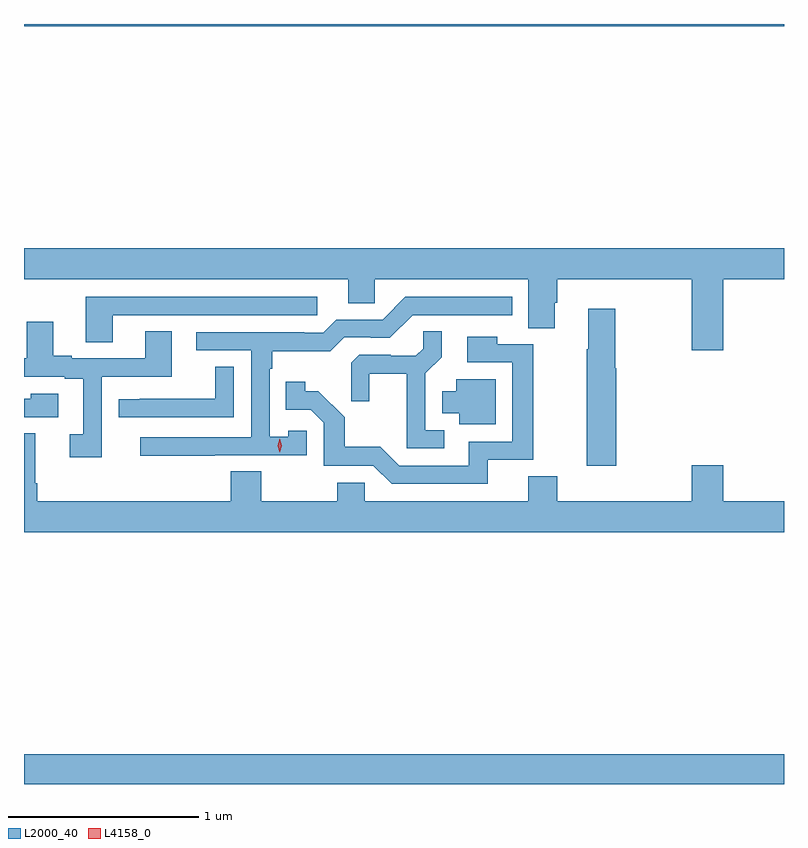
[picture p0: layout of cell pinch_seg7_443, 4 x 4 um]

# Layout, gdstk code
import gdstk
lib = gdstk.Library(unit=1e-6, precision=1e-09)
def R(c, l, rs):  # rectangles x0, y0, x1, y1
    for r in rs: c.add(gdstk.rectangle(r[:2], r[2:], *l))
def P(c, l, *ps):  # polygons
    for p in ps: c.add(gdstk.Polygon(p, *l))
L2000_40 = (2000, 40)
L4158_0 = (4158, 0)

pinch_seg7_443 = lib.new_cell('pinch_seg7_443')
R(pinch_seg7_443, L2000_40, [(293.361,1055.236,297.361,1055.392), (293.361,1059.224,297.361,1059.236)])
P(pinch_seg7_443, L2000_40, [(297.04,1057.892),(297.361,1057.892),(297.361,1058.056),(293.361,1058.056),(293.361,1057.892),(295.067,1057.892),(295.067,1057.765),(295.206,1057.765),(295.206,1057.892),(296.015,1057.892),(296.015,1057.636),(296.155,1057.636),(296.155,1057.77),(296.168,1057.77),(296.168,1057.892),(296.876,1057.892),(296.876,1057.518),(297.04,1057.518)],
  [(293.827,1057.704),(294.904,1057.704),(294.904,1057.8),(293.687,1057.8),(293.687,1057.561),(293.827,1057.561)],
  [(294.365,1056.966),(294.849,1056.966),(294.849,1057.095),(294.753,1057.095),(294.753,1057.063),(294.654,1057.063),(294.654,1057.421),(294.667,1057.421),(294.667,1057.514),(294.974,1057.514),(295.047,1057.587),(295.186,1057.587),(295.186,1057.584),(295.287,1057.584),(295.407,1057.704),(295.93,1057.704),(295.93,1057.8),(295.368,1057.8),(295.248,1057.68),(295.005,1057.68),(294.936,1057.611),(294.836,1057.611),(294.836,1057.614),(294.267,1057.614),(294.267,1057.518),(294.558,1057.518),(294.558,1057.062),(293.973,1057.062),(293.973,1056.964),(294.365,1056.964)],
  [(296.477,1057.425),(296.472,1057.425),(296.472,1057.738),(296.33,1057.738),(296.33,1057.525),(296.323,1057.525),(296.323,1056.912),(296.477,1056.912)],
  [(293.769,1057.38),(294.139,1057.38),(294.139,1057.619),(293.999,1057.619),(293.999,1057.476),(293.611,1057.476),(293.611,1057.489),(293.515,1057.489),(293.515,1057.669),(293.375,1057.669),(293.375,1057.476),(293.361,1057.476),(293.361,1057.38),(293.576,1057.38),(293.576,1057.368),(293.672,1057.368),(293.672,1057.077),(293.601,1057.077),(293.601,1056.957),(293.769,1056.957)],
  [(295.573,1057.098),(295.473,1057.098),(295.473,1057.397),(295.559,1057.483),(295.559,1057.619),(295.461,1057.619),(295.461,1057.528),(295.424,1057.491),(295.29,1057.491),(295.29,1057.494),(295.125,1057.494),(295.084,1057.453),(295.084,1057.251),(295.178,1057.251),(295.178,1057.394),(295.376,1057.394),(295.376,1057.002),(295.573,1057.002)],
  [(295.802,1056.942),(296.041,1056.942),(296.041,1057.551),(295.851,1057.551),(295.851,1057.591),(295.695,1057.591),(295.695,1057.455),(295.932,1057.455),(295.932,1057.038),(295.703,1057.038),(295.703,1056.912),(295.335,1056.912),(295.237,1057.011),(295.048,1057.011),(295.048,1057.166),(294.91,1057.304),(294.84,1057.304),(294.84,1057.354),(294.739,1057.354),(294.739,1057.206),(294.87,1057.206),(294.939,1057.137),(294.939,1056.912),(295.2,1056.912),(295.296,1056.816),(295.802,1056.816)],
  [(294.465,1057.433),(294.367,1057.433),(294.367,1057.263),(293.971,1057.263),(293.971,1057.262),(293.859,1057.262),(293.859,1057.167),(294.465,1057.167)],
  [(295.843,1057.366),(295.637,1057.366),(295.637,1057.303),(295.562,1057.303),(295.562,1057.187),(295.652,1057.187),(295.652,1057.13),(295.843,1057.13)],
  [(293.542,1057.291),(293.397,1057.291),(293.397,1057.263),(293.361,1057.263),(293.361,1057.167),(293.542,1057.167)],
  [(297.361,1056.724),(297.04,1056.724),(297.04,1056.913),(296.876,1056.913),(296.876,1056.724),(296.168,1056.724),(296.168,1056.857),(296.015,1056.857),(296.015,1056.724),(295.155,1056.724),(295.155,1056.822),(295.009,1056.822),(295.009,1056.724),(294.609,1056.724),(294.609,1056.881),(294.449,1056.881),(294.449,1056.724),(293.432,1056.724),(293.432,1056.82),(293.419,1056.82),(293.419,1057.081),(293.361,1057.081),(293.361,1056.56),(297.361,1056.56)])
P(pinch_seg7_443, L4158_0, [(294.706,1056.981),(294.706,1056.981),(294.697,1057.017),(294.707,1057.053),(294.707,1057.053),(294.707,1057.053),(294.717,1057.017),(294.706,1056.981)])

lib.write_gds('pinch_seg7_443.gds')
